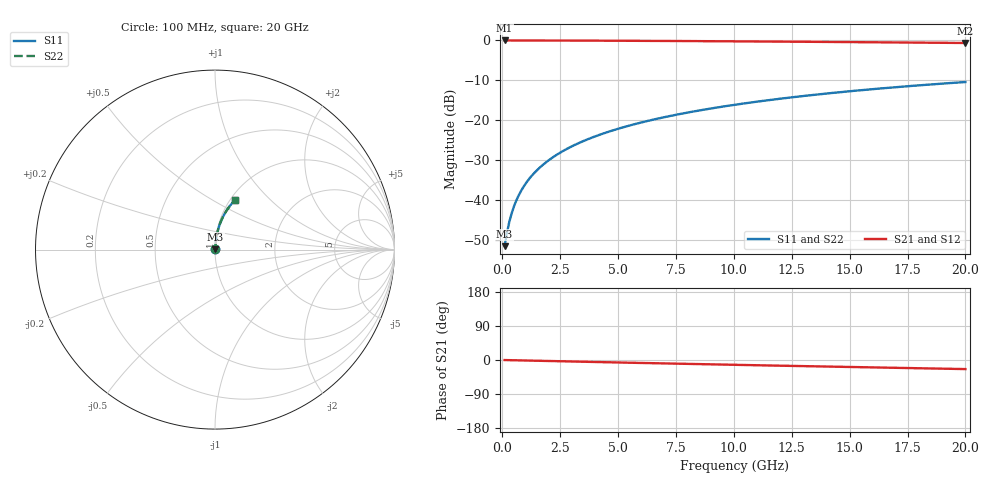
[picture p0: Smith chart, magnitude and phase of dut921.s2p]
! Touchstone file exported from HFSS 2024.1.0
!  File:  C:/UserFiles/LocalFiles/RDL_TSV_Batchsim/temp_RDL_top_921_1779936612.aedt
!  Generated:  10:53:02 AM May 28, 2026
!  Design:  RDL_top
!  Project:  temp_RDL_top_921_1779936612
!  Setup:  Setup1
!  Solution:  Sweep
! Variables:
!  dtsv = 10.80580581um
!  hbump = 3um
!  htsv = 56.79um
!  ldown = 100um
!  lrdl = 283.62um
!  p = 40
!  p1 = 46.29um
!  rhole = 1um
!  t = 450um
!  tdown = 3.915915916um
!  trdl = 4.44um
!  wdown = 15.38538539um
!  wrdl = 11.45um
# GHz S MA R 50.000000
! Terminal data exported
! Port[1] = Box2_T1
! Port[2] = Box2_T2
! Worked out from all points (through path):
!   200 points, 100 MHz to 20 GHz, reference 50 ohm
!   highest |S21| = -0.02 dB at 100 MHz (marker M1); lowest = -0.7 dB at 20 GHz (marker M2)
!   group delay of S21, straight-line fit = 3.32 ps
!   lowest |S11| = -51.6 dB at 100 MHz (marker M3), VSWR 1.01, Z = 50.2 + j0.161 ohm
!   |S11| at or under -10 dB: start of sweep to end of sweep
!   |S22| runs from -51.6 to -10.4 dB; largest |S21 - S12| = 2.7e-15
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0.1  0.002622 37.8  0.9979 -0.1  0.9979 -0.1  0.002622 37.8
! Gamma 0 0 0 0
! Port Impedance 50 0 50 0
0.2  0.003835 56.6  0.9979 -0.3  0.9979 -0.3  0.003835 56.6
0.3  0.005244 65.7  0.9978 -0.4  0.9978 -0.4  0.005244 65.7
0.4  0.006715 70.8  0.9978 -0.5  0.9978 -0.5  0.006715 70.8
0.5  0.008212 74.0  0.9977 -0.7  0.9977 -0.7  0.008212 74.0
0.6  0.009724 76.2  0.9976 -0.8  0.9976 -0.8  0.009724 76.2
0.8  0.01277 79.0  0.9975 -1.1  0.9975 -1.1  0.01277 79.0
1.1  0.01738 81.3  0.9973 -1.5  0.9973 -1.5  0.01738 81.3
1.5  0.02356 82.9  0.9969 -2.0  0.9969 -2.0  0.02356 82.9
1.8  0.0282 83.4  0.9966 -2.4  0.9966 -2.4  0.0282 83.4
2.1  0.03285 83.8  0.9962 -2.8  0.9962 -2.8  0.03285 83.8
2.7  0.04216 84.0  0.9953 -3.6  0.9953 -3.6  0.04216 84.0
3.5  0.05457 83.9  0.9938 -4.6  0.9938 -4.6  0.05457 83.9
4.2  0.06543 83.6  0.9922 -5.5  0.9922 -5.5  0.06543 83.6
5  0.07784 83.1  0.9901 -6.6  0.9901 -6.6  0.07784 83.1
5.9  0.09179 82.4  0.9875 -7.7  0.9875 -7.7  0.0918 82.4
6.8  0.1057 81.6  0.9847 -8.8  0.9847 -8.8  0.1057 81.6
8.3  0.1289 80.2  0.9796 -10.6  0.9796 -10.6  0.1289 80.3
10.1  0.1566 78.5  0.9728 -12.8  0.9728 -12.8  0.1566 78.5
13.4  0.2065 75.0  0.9592 -16.6  0.9592 -16.6  0.2065 75.0
16.7  0.2546 71.4  0.9441 -20.4  0.9441 -20.4  0.2547 71.4
20  0.3005 67.8  0.9279 -23.9  0.9279 -23.9  0.3005 67.8
